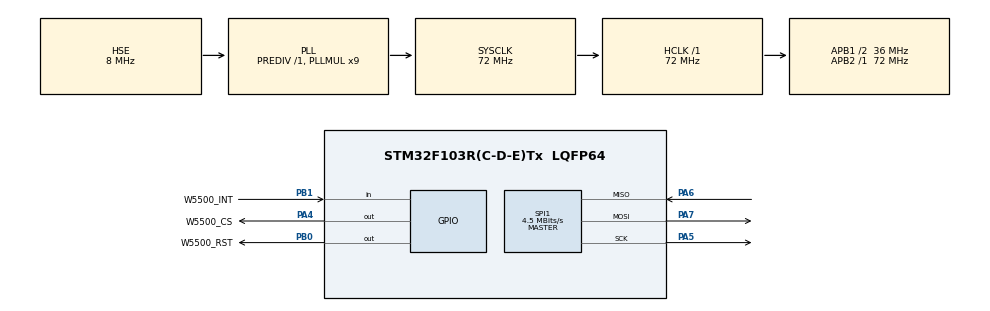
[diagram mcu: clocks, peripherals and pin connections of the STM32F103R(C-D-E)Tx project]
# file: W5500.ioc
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Mcu.Family=STM32F1
Mcu.Name=STM32F103R(C-D-E)Tx
Mcu.Package=LQFP64
NVIC.PriorityGroup=NVIC_PRIORITYGROUP_4
PA13.Mode=Serial_Wire
PA13.Signal=SYS_JTMS-SWDIO
PA14.Mode=Serial_Wire
PA14.Signal=SYS_JTCK-SWCLK
PA4.GPIO_Label=W5500_CS
PA4.GPIO_Speed=GPIO_SPEED_FREQ_HIGH
PA4.Signal=GPIO_Output
PA5.Mode=Full_Duplex_Master
PA5.Signal=SPI1_SCK
PA6.Mode=Full_Duplex_Master
PA6.Signal=SPI1_MISO
PA7.Mode=Full_Duplex_Master
PA7.Signal=SPI1_MOSI
PB0.GPIO_Label=W5500_RST
PB0.GPIO_Speed=GPIO_SPEED_FREQ_HIGH
PB0.Signal=GPIO_Output
PB1.GPIO_Label=W5500_INT
PB1.Signal=GPIO_Input
PD0-OSC_IN.Mode=HSE-External-Oscillator
PD0-OSC_IN.Signal=RCC_OSC_IN
PD1-OSC_OUT.Mode=HSE-External-Oscillator
PD1-OSC_OUT.Signal=RCC_OSC_OUT
ProjectManager.HeapSize=0x200
ProjectManager.StackSize=0x400
ProjectManager.TargetToolchain=MDK-ARM V5.32
RCC.AHBFreq_Value=72000000
RCC.APB1CLKDivider=RCC_HCLK_DIV2
RCC.APB1Freq_Value=36000000
RCC.APB1TimFreq_Value=72000000
RCC.APB2Freq_Value=72000000
RCC.APB2TimFreq_Value=72000000
RCC.HCLKFreq_Value=72000000
RCC.PLLMUL=RCC_PLL_MUL9
RCC.PLLSourceVirtual=RCC_PLLSOURCE_HSE
RCC.SYSCLKFreq_VALUE=72000000
RCC.SYSCLKSource=RCC_SYSCLKSOURCE_PLLCLK
RCC.USBFreq_Value=72000000
SPI1.BaudRatePrescaler=SPI_BAUDRATEPRESCALER_16
SPI1.CalculateBaudRate=4.5 MBits/s
SPI1.Direction=SPI_DIRECTION_2LINES
SPI1.Mode=SPI_MODE_MASTER
SPI1.VirtualType=VM_MASTER
board=custom

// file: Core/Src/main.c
/* USER CODE BEGIN Header */
/**
  ******************************************************************************
  * @file           : main.c
  * @brief          : Main program body
  ******************************************************************************
  * @attention
  *
  * Copyright (c) 2026 STMicroelectronics.
  * All rights reserved.
  *
  * This software is licensed under terms that can be found in the LICENSE file
  * in the root directory of this software component.
  * If no LICENSE file comes with this software, it is provided AS-IS.
  *
  ******************************************************************************
  */
/* USER CODE END Header */
#include "main.h"
#include "w5500_port.h"
#include "w5500.h"
#include "socket.h"
#include <string.h>

SPI_HandleTypeDef hspi1;

/* USER CODE BEGIN PV */

wiz_NetInfo gNetInfo =
{
    .mac  = {0x00, 0x08, 0xDC, 0x11, 0x22, 0x33},	// 11:22:33 tu dat khong trung voi thiet bi khac trong mang
    .ip   = {169,254,133,145},
    .sn   = {255,255,0,0},
    .gw   = {0,0,0,0},
    .dns  = {0,0,0,0},
    .dhcp = NETINFO_STATIC
};

/* USER CODE END PV */

void SystemClock_Config(void);
static void MX_GPIO_Init(void);
static void MX_SPI1_Init(void);
/* USER CODE BEGIN PFP */
uint8_t socket_status;
uint8_t rxBuf[128];
uint8_t remote_ip[4];
uint16_t remote_port;
uint16_t rx_size;
int32_t recv_len;
uint8_t mode;
/* USER CODE END PFP */

int main(void)
{

  /* MCU Configuration--------------------------------------------------------*/

  /* Reset of all peripherals, Initializes the Flash interface and the Systick. */
  HAL_Init();

  /* Configure the system clock */
  SystemClock_Config();

  /* Initialize all configured peripherals */
  MX_GPIO_Init();
  MX_SPI1_Init();

  /* Infinite loop */
  /* USER CODE BEGIN WHILE */

	W5500_Init();
	volatile uint8_t version;
	volatile uint8_t phy;
	volatile uint8_t mr;

	version = getVERSIONR();
	phy = getPHYCFGR();					// Physical Layer, kiem tra cable connection
	mr = getMR();								// Mode Register

	ctlnetwork(CN_SET_NETINFO, &gNetInfo);
	ctlnetwork(CN_GET_NETINFO, &gNetInfo);

	socket(0, Sn_MR_UDP, 5000, 0);	// mo socket che do UDP
	socket_status = getSn_SR(0);		// doc trang thai socket 0, Sn = Socket n, SR = Status Register

	mode = getMR();
	HAL_GPIO_WritePin(GPIOC, GPIO_PIN_7 | GPIO_PIN_12, GPIO_PIN_SET);   // Active Low => LED t?t
  while (1)
  {
    /* USER CODE END WHILE */
    rx_size = getSn_RX_RSR(0);			// co du lieu chua, so bye chua duoc doc

    if(rx_size > 0)
    {
				recv_len = recvfrom(0, rxBuf, sizeof(rxBuf), remote_ip, &remote_port);		// lay du lieu
        if (recv_len > 0)
        {
            /* Che do debug trên Watch Window */
            if (recv_len < sizeof(rxBuf))
            {
                rxBuf[recv_len] = '\0';
            }

            /* Echo: g?i tr? dúng d? li?u v?a nh?n */
            // sendto(0, rxBuf, recv_len, remote_ip, remote_port);
						// Kiem tra cmd de ON/OFF led
						if (strcmp((char *)rxBuf, "LED ON") == 0)
						{
								HAL_GPIO_WritePin(GPIOC, GPIO_PIN_12, GPIO_PIN_RESET);

								char reply[] = "OK";

								sendto(0, (uint8_t *)reply, strlen(reply), remote_ip, remote_port);
						}
						else if (strcmp((char *)rxBuf, "LED OFF") == 0)
						{
								HAL_GPIO_WritePin(GPIOC, GPIO_PIN_12, GPIO_PIN_SET);

								char reply[] = "OK";

								sendto(0, (uint8_t *)reply, strlen(reply), remote_ip, remote_port);
						}
						else
						{
								char reply[] = "UNKNOWN COMMAND";

								sendto(0, (uint8_t *)reply, strlen(reply), remote_ip, remote_port);
						}
        }
    }
  }
}

void SystemClock_Config(void)
{
  RCC_OscInitTypeDef RCC_OscInitStruct = {0};
  RCC_ClkInitTypeDef RCC_ClkInitStruct = {0};

  /** Initializes the RCC Oscillators according to the specified parameters
  * in the RCC_OscInitTypeDef structure.
  */
  RCC_OscInitStruct.OscillatorType = RCC_OSCILLATORTYPE_HSE;
  RCC_OscInitStruct.HSEState = RCC_HSE_ON;
  RCC_OscInitStruct.HSEPredivValue = RCC_HSE_PREDIV_DIV1;
  RCC_OscInitStruct.HSIState = RCC_HSI_ON;
  RCC_OscInitStruct.PLL.PLLState = RCC_PLL_ON;
  RCC_OscInitStruct.PLL.PLLSource = RCC_PLLSOURCE_HSE;
  RCC_OscInitStruct.PLL.PLLMUL = RCC_PLL_MUL9;
  if (HAL_RCC_OscConfig(&RCC_OscInitStruct) != HAL_OK)
  {
    Error_Handler();
  }

  /** Initializes the CPU, AHB and APB buses clocks
  */
  RCC_ClkInitStruct.ClockType = RCC_CLOCKTYPE_HCLK|RCC_CLOCKTYPE_SYSCLK
                              |RCC_CLOCKTYPE_PCLK1|RCC_CLOCKTYPE_PCLK2;
  RCC_ClkInitStruct.SYSCLKSource = RCC_SYSCLKSOURCE_PLLCLK;
  RCC_ClkInitStruct.AHBCLKDivider = RCC_SYSCLK_DIV1;
  RCC_ClkInitStruct.APB1CLKDivider = RCC_HCLK_DIV2;
  RCC_ClkInitStruct.APB2CLKDivider = RCC_HCLK_DIV1;

  if (HAL_RCC_ClockConfig(&RCC_ClkInitStruct, FLASH_LATENCY_2) != HAL_OK)
  {
    Error_Handler();
  }
}

static void MX_SPI1_Init(void)
{

  /* SPI1 parameter configuration*/
  hspi1.Instance = SPI1;
  hspi1.Init.Mode = SPI_MODE_MASTER;
  hspi1.Init.Direction = SPI_DIRECTION_2LINES;
  hspi1.Init.DataSize = SPI_DATASIZE_8BIT;
  hspi1.Init.CLKPolarity = SPI_POLARITY_LOW;
  hspi1.Init.CLKPhase = SPI_PHASE_1EDGE;
  hspi1.Init.NSS = SPI_NSS_SOFT;
  hspi1.Init.BaudRatePrescaler = SPI_BAUDRATEPRESCALER_16;
  hspi1.Init.FirstBit = SPI_FIRSTBIT_MSB;
  hspi1.Init.TIMode = SPI_TIMODE_DISABLE;
  hspi1.Init.CRCCalculation = SPI_CRCCALCULATION_DISABLE;
  hspi1.Init.CRCPolynomial = 10;
  if (HAL_SPI_Init(&hspi1) != HAL_OK)
  {
    Error_Handler();
  }

}

static void MX_GPIO_Init(void)
{
  GPIO_InitTypeDef GPIO_InitStruct = {0};

  /* GPIO Ports Clock Enable */
  __HAL_RCC_GPIOD_CLK_ENABLE();
  __HAL_RCC_GPIOA_CLK_ENABLE();
  __HAL_RCC_GPIOB_CLK_ENABLE();
	__HAL_RCC_GPIOC_CLK_ENABLE();

  /*Configure GPIO pin Output Level */
  HAL_GPIO_WritePin(W5500_CS_GPIO_Port, W5500_CS_Pin, GPIO_PIN_RESET);

  /*Configure GPIO pin Output Level */
  HAL_GPIO_WritePin(W5500_RST_GPIO_Port, W5500_RST_Pin, GPIO_PIN_RESET);

  /*Configure GPIO pin : W5500_CS_Pin */
  GPIO_InitStruct.Pin = W5500_CS_Pin;
  GPIO_InitStruct.Mode = GPIO_MODE_OUTPUT_PP;
  GPIO_InitStruct.Pull = GPIO_NOPULL;
  GPIO_InitStruct.Speed = GPIO_SPEED_FREQ_HIGH;
  HAL_GPIO_Init(W5500_CS_GPIO_Port, &GPIO_InitStruct);

  /*Configure GPIO pin : W5500_RST_Pin */
  GPIO_InitStruct.Pin = W5500_RST_Pin;
  GPIO_InitStruct.Mode = GPIO_MODE_OUTPUT_PP;
  GPIO_InitStruct.Pull = GPIO_NOPULL;
  GPIO_InitStruct.Speed = GPIO_SPEED_FREQ_HIGH;
  HAL_GPIO_Init(W5500_RST_GPIO_Port, &GPIO_InitStruct);

  /*Configure GPIO pin : W5500_INT_Pin */
  GPIO_InitStruct.Pin = W5500_INT_Pin;
  GPIO_InitStruct.Mode = GPIO_MODE_INPUT;
  GPIO_InitStruct.Pull = GPIO_NOPULL;
  HAL_GPIO_Init(W5500_INT_GPIO_Port, &GPIO_InitStruct);

  /* USER CODE BEGIN MX_GPIO_Init_2 */
	GPIO_InitStruct.Pin = GPIO_PIN_7 | GPIO_PIN_12;
	GPIO_InitStruct.Mode = GPIO_MODE_OUTPUT_PP;
	GPIO_InitStruct.Pull = GPIO_NOPULL;
	GPIO_InitStruct.Speed = GPIO_SPEED_FREQ_LOW;

	HAL_GPIO_Init(GPIOC, &GPIO_InitStruct);
  /* USER CODE END MX_GPIO_Init_2 */
}

void Error_Handler(void)
{
  __disable_irq();
  while (1)
  {
  }
}
